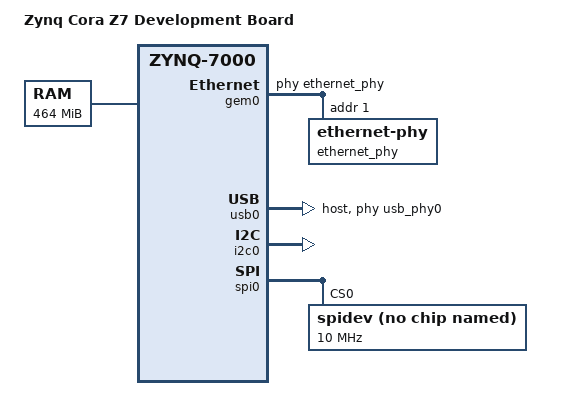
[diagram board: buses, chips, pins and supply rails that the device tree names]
/include/ "system-conf.dtsi"
/ {
	model = "Zynq Cora Z7 Development Board";
	compatible = "digilent,zynq-coraz7", "xlnx,zynq-7000";

	chosen {
		bootargs = "console=ttyPS0,115200 earlyprintk uio_pdrv_genirq.of_id=generic-uio root=/dev/mmcblk0p2 rw rootwait";
	};

	usb_phy0: phy0@e0002000 {
		compatible = "ulpi-phy";
		#phy-cells = <0>;
		reg = <0xe0002000 0x1000>;
		view-port = <0x0170>;
		drv-vbus;
	};

  aliases {
    spi0 = &spi0;
    i2ic0 = &i2c0;
  };

  memory {
    device_type = "memory";
    reg = <0x0 0x1D000000>;
  };

  

};


&gem0 {
	phy-handle = <&ethernet_phy>;
/*	phy-reset-gpio = <&gpio0 GPIO_ACTIVE_LOW>;
	phy-reset-active-low;	
	phy-reset-duration = <10>;  */
	ethernet_phy: ethernet-phy@1 { /* rtl8211e-vl */
		reg = <1>;
		device_type = "ethernet-phy";
	};
};
&usb0 {	
	dr_mode = "host";
	usb-phy = <&usb_phy0>;
};
&sdhci0 {
	u-boot,dm-pre-reloc;
};
&uart0 {
	u-boot,dm-pre-reloc;
};

&i2c0 {
			status = "okay";
};
&spi0 {
			status = "okay";
      spidev@0{
        compatible = "spidev";
        reg = <0>;
        spi-max-frequency = <10000000>;
      };
};

